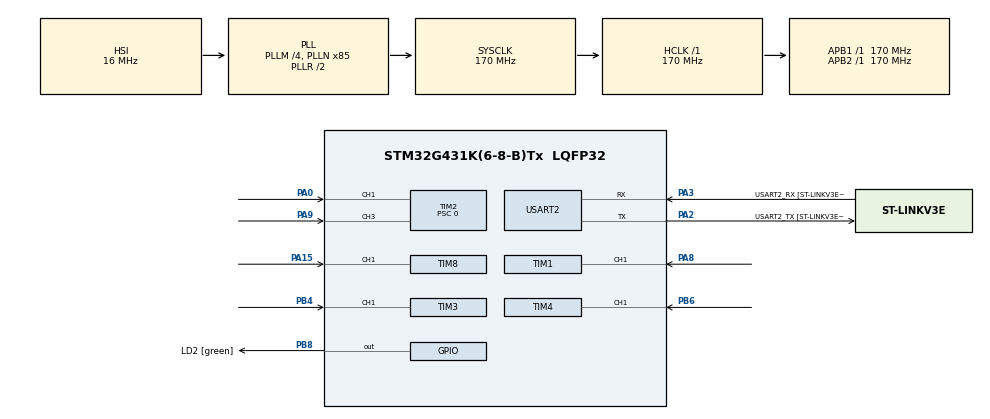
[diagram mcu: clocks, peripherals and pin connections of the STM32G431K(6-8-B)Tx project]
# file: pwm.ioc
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Mcu.Family=STM32G4
Mcu.Name=STM32G431K(6-8-B)Tx
Mcu.Package=LQFP32
NVIC.PriorityGroup=NVIC_PRIORITYGROUP_4
NVIC.TIM1_BRK_TIM15_IRQn=true\:0\:0\:false\:false\:true\:true\:true\:true
NVIC.TIM1_CC_IRQn=true\:0\:0\:false\:false\:true\:true\:true\:true
NVIC.TIM1_TRG_COM_TIM17_IRQn=true\:0\:0\:false\:false\:true\:true\:true\:true
NVIC.TIM1_UP_TIM16_IRQn=true\:0\:0\:false\:false\:true\:true\:true\:true
NVIC.TIM2_IRQn=true\:0\:0\:false\:false\:true\:true\:true\:true
NVIC.TIM3_IRQn=true\:0\:0\:false\:false\:true\:true\:true\:true
NVIC.TIM4_IRQn=true\:0\:0\:false\:false\:true\:true\:true\:true
NVIC.TIM8_BRK_IRQn=true\:0\:0\:false\:false\:true\:true\:true\:true
NVIC.TIM8_CC_IRQn=true\:0\:0\:false\:false\:true\:true\:true\:true
NVIC.TIM8_TRG_COM_IRQn=true\:0\:0\:false\:false\:true\:true\:true\:true
NVIC.TIM8_UP_IRQn=true\:0\:0\:false\:false\:true\:true\:true\:true
NVIC.USART2_IRQn=true\:0\:0\:false\:false\:true\:true\:true\:true
PA0.Signal=S_TIM2_CH1
PA13.GPIO_Label=T_SWDIO
PA13.Mode=Serial_Wire
PA13.Signal=SYS_JTMS-SWDIO
PA14.GPIO_Label=T_SWCLK
PA14.Mode=Serial_Wire
PA14.Signal=SYS_JTCK-SWCLK
PA15.Signal=S_TIM8_CH1
PA2.GPIO_Label=USART2_TX [ST-LINKV3E_VCP_RX]
PA2.Mode=Asynchronous
PA2.Signal=USART2_TX
PA3.GPIO_Label=USART2_RX [ST-LINKV3E_VCP_TX]
PA3.Mode=Asynchronous
PA3.Signal=USART2_RX
PA8.Signal=S_TIM1_CH1
PA9.Signal=S_TIM2_CH3
PB3.GPIO_Label=T_SWO
PB3.Signal=SYS_JTDO-SWO
PB4.Signal=S_TIM3_CH1
PB6.Signal=S_TIM4_CH1
PB8-BOOT0.GPIO_Label=LD2 [green]
PB8-BOOT0.Signal=GPIO_Output
ProjectManager.HeapSize=0x200
ProjectManager.StackSize=0x400
ProjectManager.TargetToolchain=STM32CubeIDE
RCC.ADC12Freq_Value=170000000
RCC.AHBFreq_Value=170000000
RCC.APB1Freq_Value=170000000
RCC.APB1TimFreq_Value=170000000
RCC.APB2Freq_Value=170000000
RCC.APB2TimFreq_Value=170000000
RCC.CortexFreq_Value=170000000
RCC.EXTERNAL_CLOCK_VALUE=12288000
RCC.HCLKFreq_Value=170000000
RCC.HSE_VALUE=8000000
RCC.HSI48_VALUE=48000000
RCC.HSI_VALUE=16000000
RCC.LSE_VALUE=32768
RCC.PLLM=RCC_PLLM_DIV4
RCC.PLLN=85
RCC.SYSCLKFreq_VALUE=170000000
RCC.SYSCLKSource=RCC_SYSCLKSOURCE_PLLCLK
RCC.USBFreq_Value=170000000
RCC.VCOOutputFreq_Value=340000000
SH.S_TIM1_CH1.0=TIM1_CH1,PWM_Input_1
SH.S_TIM2_CH1.0=TIM2_CH1,PWM_Input_1
SH.S_TIM2_CH3.0=TIM2_CH3,Input_Capture3_from_TI3
SH.S_TIM3_CH1.0=TIM3_CH1,PWM_Input_1
SH.S_TIM4_CH1.0=TIM4_CH1,PWM_Input_1
SH.S_TIM8_CH1.0=TIM8_CH1,PWM_Input_1
TIM1.Prescaler=169
TIM15.PeriodNoDither=9999
TIM15.Prescaler=169
TIM2.Channel-Input_Capture3_from_TI3=TIM_CHANNEL_3
TIM2.Channel-Input_Capture4_from_TI3_63=TIM_CHANNEL_4
TIM2.ICPolarity_CH4=TIM_INPUTCHANNELPOLARITY_FALLING
TIM2.PeriodNoDither=4294967295
TIM2.Prescaler=0
TIM3.Prescaler=169
TIM4.Prescaler=169
TIM8.Prescaler=169
USART2.VirtualMode-Asynchronous=VM_ASYNC
USART2.WordLength=WORDLENGTH_8B
VP_TIM15_VS_ClockSourceINT.Mode=Internal
VP_TIM1_VS_ClockSourceINT.Mode=Internal
VP_TIM2_VS_ClockSourceINT.Mode=Internal
VP_TIM2_VS_indirect_ch3.Mode=Input_Capture4_from_TI3_63
VP_TIM3_VS_ClockSourceINT.Mode=Internal
VP_TIM4_VS_ClockSourceINT.Mode=Internal
VP_TIM8_VS_ClockSourceINT.Mode=Internal
board=NUCLEO-G431KB

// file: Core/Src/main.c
/* USER CODE BEGIN Header */
/**
  ******************************************************************************
  * @file           : main.c
  * @brief          : Main program body
  ******************************************************************************
  * @attention
  *
  * Copyright (c) 2024 STMicroelectronics.
  * All rights reserved.
  *
  * This software is licensed under terms that can be found in the LICENSE file
  * in the root directory of this software component.
  * If no LICENSE file comes with this software, it is provided AS-IS.
  *
  ******************************************************************************
  */
/* USER CODE END Header */
#include "main.h"
#include "tim.h"
#include "usart.h"
#include "gpio.h"

/* USER CODE BEGIN PD */

uint32_t ICValue2 = 0;
uint32_t ICValue22 = 0;
uint32_t Frequency1 = 0;
int Duty2 = 0;

uint32_t ICValue1 = 0;
uint32_t ICValue12 = 0;
uint32_t Frequency2 = 0;
uint32_t Duty1 = 0;

uint32_t ICValue6 = 0;
uint32_t ICValue62 = 0;
int Frequency3 = 0;
int Duty6 = 0;

uint32_t ICValue3 = 0;
uint32_t ICValue32 = 0;
int Frequency4 = 0;
int Duty3 = 0;

uint32_t ICValue5 = 0;
uint32_t ICValue52 = 0;
int Frequency5 = 0;
int Duty5 = 0;

uint32_t ICValue4 = 0;
uint32_t ICValue42 = 0;
int Frequency6 = 0;
int Duty4 = 0;

void HAL_TIM_IC_CaptureCallback(TIM_HandleTypeDef *htim)
{
	if (htim == &htim1)
	{
	if (htim->Channel == HAL_TIM_ACTIVE_CHANNEL_1)  // If the interrupt is triggered by channel 1
	{
		// Read the IC value
		ICValue2 = HAL_TIM_ReadCapturedValue(htim, TIM_CHANNEL_1);

		if (ICValue2 != 0)
		{
			ICValue22= HAL_TIM_ReadCapturedValue(htim, TIM_CHANNEL_2);
			// calculate the Duty Cycle
			Duty2 = ((HAL_TIM_ReadCapturedValue(htim, TIM_CHANNEL_2) *1000000)/(ICValue2*100));

		}
	}
	}
	if (htim == &htim2)
	{
	if (htim->Channel == HAL_TIM_ACTIVE_CHANNEL_1)  // If the interrupt is triggered by channel 1
	{
		// Read the IC value
		ICValue1 = HAL_TIM_ReadCapturedValue(htim, TIM_CHANNEL_1);

		if (ICValue1 != 0)
		{
			ICValue12= HAL_TIM_ReadCapturedValue(htim, TIM_CHANNEL_2);
			// calculate the Duty Cycle
			Duty1 = ((HAL_TIM_ReadCapturedValue(htim, TIM_CHANNEL_2) *10000)/(ICValue1));

		}
	}
	if (htim->Channel == HAL_TIM_ACTIVE_CHANNEL_3)  // If the interrupt is triggered by channel 1
		{
			// Read the IC value
			ICValue6 = HAL_TIM_ReadCapturedValue(htim, TIM_CHANNEL_3);

			if (ICValue6 != 0)
			{
				ICValue62= HAL_TIM_ReadCapturedValue(htim, TIM_CHANNEL_4);
				// calculate the Duty Cycle
				Duty6 = ((HAL_TIM_ReadCapturedValue(htim, TIM_CHANNEL_4) *10000)/(ICValue6));

			}
		}
	}
	if (htim == &htim3)
	{
	if (htim->Channel == HAL_TIM_ACTIVE_CHANNEL_1)  // If the interrupt is triggered by channel 1
	{
		// Read the IC value
		ICValue3 = HAL_TIM_ReadCapturedValue(htim, TIM_CHANNEL_1);

		if (ICValue3 != 0)
		{
			ICValue32= HAL_TIM_ReadCapturedValue(htim, TIM_CHANNEL_2);
			// calculate the Duty Cycle
			Duty3 = ((HAL_TIM_ReadCapturedValue(htim, TIM_CHANNEL_2) *1000000)/(ICValue3*100));
		}
	}
	}
	if (htim == &htim4)
	{
	if (htim->Channel == HAL_TIM_ACTIVE_CHANNEL_1)  // If the interrupt is triggered by channel 1
	{
		// Read the IC value
		ICValue5 = HAL_TIM_ReadCapturedValue(htim, TIM_CHANNEL_1);

		if (ICValue5 != 0)
		{
			ICValue52= HAL_TIM_ReadCapturedValue(htim, TIM_CHANNEL_2);
			// calculate the Duty Cycle
			Duty5 = ((HAL_TIM_ReadCapturedValue(htim, TIM_CHANNEL_2) *1000000)/(ICValue5*100));

		}
	}
	}
	if (htim == &htim8)
	{
	if (htim->Channel == HAL_TIM_ACTIVE_CHANNEL_1)  // If the interrupt is triggered by channel 1
	{
		// Read the IC value
		ICValue4 = HAL_TIM_ReadCapturedValue(htim, TIM_CHANNEL_1);

		if (ICValue4 != 0)
		{
			ICValue42= HAL_TIM_ReadCapturedValue(htim, TIM_CHANNEL_2);
			// calculate the Duty Cycle
			Duty4 = ((HAL_TIM_ReadCapturedValue(htim, TIM_CHANNEL_2) *1000000)/(ICValue4*100));

		}
	}
	}
}

void HAL_TIM_PeriodElapsedCallback(TIM_HandleTypeDef *htim)
{
  if(htim == &htim15)
  {
		 uint8_t tx_buffer[64];
		 int resp_len = sprintf((char*)tx_buffer, "%d, %d, %d, %d, %d ,%d\n\r", Duty2, Duty1, Duty6, Duty3, Duty5, Duty4); // Creating a message with RPM, RPM_REF, DUTY to send to termial
		 HAL_UART_Transmit(&huart2, tx_buffer, resp_len, 10);
		 }
}

/* USER CODE END PD */

void SystemClock_Config(void);

int main(void)
{

  /* MCU Configuration--------------------------------------------------------*/

  /* Reset of all peripherals, Initializes the Flash interface and the Systick. */
  HAL_Init();

  /* Configure the system clock */
  SystemClock_Config();

  /* Initialize all configured peripherals */
  MX_GPIO_Init();
  MX_USART2_UART_Init();
  MX_TIM1_Init();
  MX_TIM2_Init();
  MX_TIM3_Init();
  MX_TIM4_Init();
  MX_TIM8_Init();
  MX_TIM15_Init();
  /* USER CODE BEGIN 2 */
  HAL_TIM_IC_Start_IT(&htim1, TIM_CHANNEL_1);   // main channel
  HAL_TIM_IC_Start(&htim1, TIM_CHANNEL_2);   // indirect channel
  HAL_TIM_IC_Start_IT(&htim2, TIM_CHANNEL_1);   // main channel
  HAL_TIM_IC_Start(&htim2, TIM_CHANNEL_2);   // indirect channel
  HAL_TIM_IC_Start_IT(&htim2, TIM_CHANNEL_3);   // main channel
  HAL_TIM_IC_Start(&htim2, TIM_CHANNEL_4);   // indirect channel
  HAL_TIM_IC_Start_IT(&htim3, TIM_CHANNEL_1);   // main channel
  HAL_TIM_IC_Start(&htim3, TIM_CHANNEL_2);   // indirect channel
  HAL_TIM_IC_Start_IT(&htim4, TIM_CHANNEL_1);   // main channel
  HAL_TIM_IC_Start(&htim4, TIM_CHANNEL_2);   // indirect channel
  HAL_TIM_IC_Start_IT(&htim8, TIM_CHANNEL_1);   // main channel
  HAL_TIM_IC_Start(&htim8, TIM_CHANNEL_2);   // indirect channel
  HAL_TIM_Base_Start_IT(&htim15);
  // main channel

  /* USER CODE END 2 */

  /* Infinite loop */
  while (1)
  {

  }
}

void SystemClock_Config(void)
{
  RCC_OscInitTypeDef RCC_OscInitStruct = {0};
  RCC_ClkInitTypeDef RCC_ClkInitStruct = {0};

  /** Configure the main internal regulator output voltage
  */
  HAL_PWREx_ControlVoltageScaling(PWR_REGULATOR_VOLTAGE_SCALE1_BOOST);

  /** Initializes the RCC Oscillators according to the specified parameters
  * in the RCC_OscInitTypeDef structure.
  */
  RCC_OscInitStruct.OscillatorType = RCC_OSCILLATORTYPE_HSI;
  RCC_OscInitStruct.HSIState = RCC_HSI_ON;
  RCC_OscInitStruct.HSICalibrationValue = RCC_HSICALIBRATION_DEFAULT;
  RCC_OscInitStruct.PLL.PLLState = RCC_PLL_ON;
  RCC_OscInitStruct.PLL.PLLSource = RCC_PLLSOURCE_HSI;
  RCC_OscInitStruct.PLL.PLLM = RCC_PLLM_DIV4;
  RCC_OscInitStruct.PLL.PLLN = 85;
  RCC_OscInitStruct.PLL.PLLP = RCC_PLLP_DIV2;
  RCC_OscInitStruct.PLL.PLLQ = RCC_PLLQ_DIV2;
  RCC_OscInitStruct.PLL.PLLR = RCC_PLLR_DIV2;
  if (HAL_RCC_OscConfig(&RCC_OscInitStruct) != HAL_OK)
  {
    Error_Handler();
  }

  /** Initializes the CPU, AHB and APB buses clocks
  */
  RCC_ClkInitStruct.ClockType = RCC_CLOCKTYPE_HCLK|RCC_CLOCKTYPE_SYSCLK
                              |RCC_CLOCKTYPE_PCLK1|RCC_CLOCKTYPE_PCLK2;
  RCC_ClkInitStruct.SYSCLKSource = RCC_SYSCLKSOURCE_PLLCLK;
  RCC_ClkInitStruct.AHBCLKDivider = RCC_SYSCLK_DIV1;
  RCC_ClkInitStruct.APB1CLKDivider = RCC_HCLK_DIV1;
  RCC_ClkInitStruct.APB2CLKDivider = RCC_HCLK_DIV1;

  if (HAL_RCC_ClockConfig(&RCC_ClkInitStruct, FLASH_LATENCY_4) != HAL_OK)
  {
    Error_Handler();
  }
}

void Error_Handler(void)
{
  __disable_irq();
  while (1)
  {
  }
}
